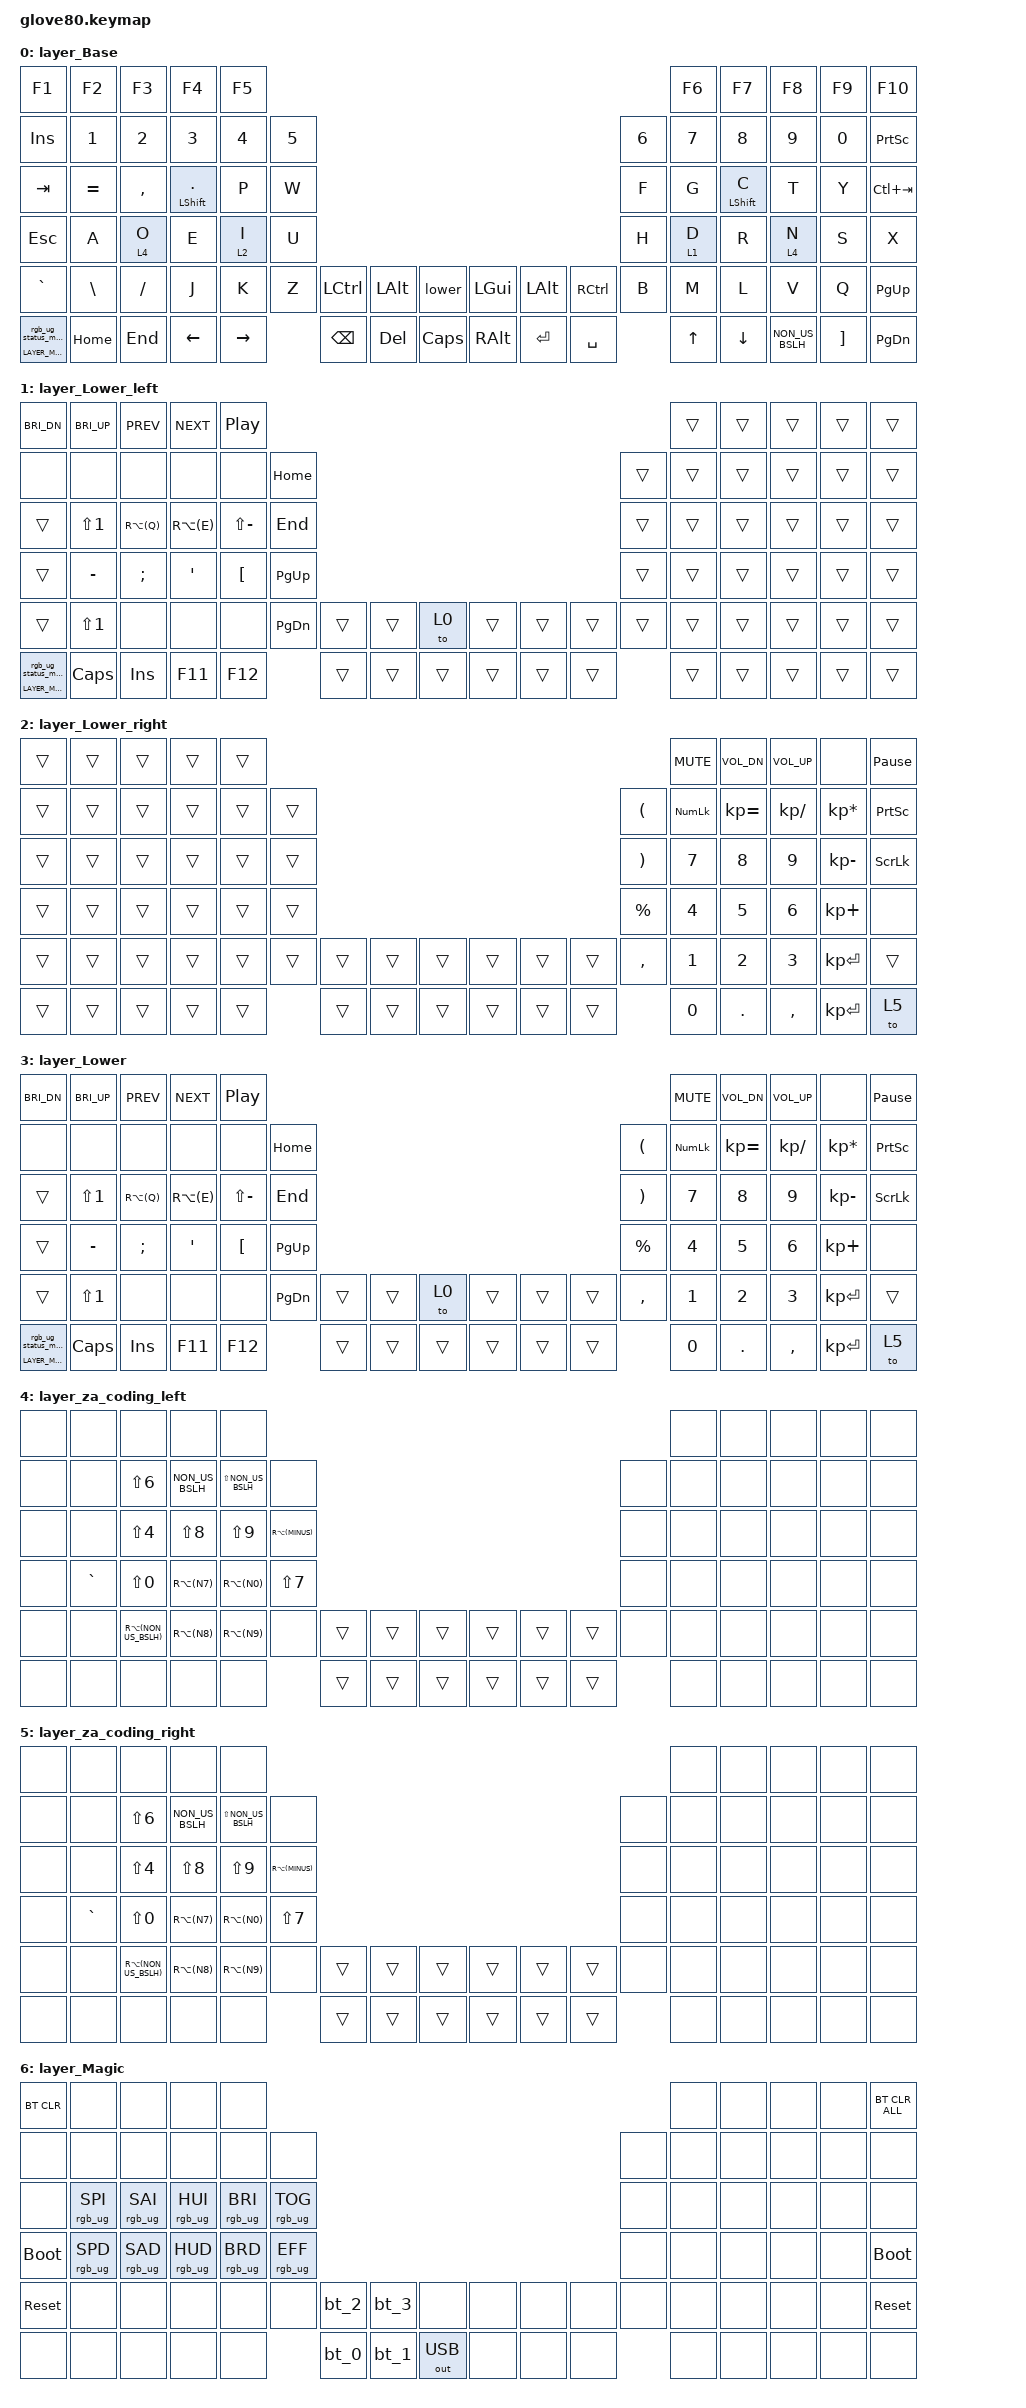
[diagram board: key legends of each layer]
/*
 * Copyright (c) 2020 The ZMK Contributors
 * Copyright (c) 2023 Innaworks Development Limited, trading as MoErgo
 *
 * SPDX-License-Identifier: MIT
 */

#include <behaviors.dtsi>
/* Include all behavior includes needed */
#include <dt-bindings/zmk/outputs.h>
#include <dt-bindings/zmk/keys.h>
#include <dt-bindings/zmk/bt.h>
#include <dt-bindings/zmk/rgb.h>

/* Automatically generated layer name #define */
#define LAYER_Base 0
#define LAYER_Lower_left 1
#define LAYER_Lower_right 2
#define LAYER_Lower 3
#define LAYER_za_coding_left 4
#define LAYER_qwerty 5
#define LAYER_Magic 6

/* To deal with the situation where there is no Lower layer, to keep &lower happy */
#ifndef LAYER_Lower
#define LAYER_Lower 0
#endif

/* Custom Device-tree */



/* Glove80 system behavior & macros */
/ {
    behaviors {
        // For the "layer" key, it'd nice to be able to use it as either a shift or a toggle.
        // Configure it as a tap dance, so the first tap (or hold) is a &mo and the second tap is a &to
        lower: lower {
            compatible = "zmk,behavior-tap-dance";
            label = "LAYER_TAP_DANCE";
            #binding-cells = <0>;
            tapping-term-ms = <200>;
            bindings = <&mo LAYER_Lower>, <&to LAYER_Lower>;
        };
    };
};

/ {
    macros {
        rgb_ug_status_macro: rgb_ug_status_macro {
            label = "RGB_UG_STATUS";
            compatible = "zmk,behavior-macro";
            #binding-cells = <0>;
            bindings
                = <&rgb_ug RGB_STATUS>;
        };
    };
};


/ {
#ifdef BT_DISC_CMD
    behaviors {
        bt_0: bt_0 {
            compatible = "zmk,behavior-tap-dance";
            label = "BT_0";
            #binding-cells = <0>;
            tapping-term-ms = <200>;
            bindings = <&bt_select_0>, <&bt BT_DISC 0>;
        };
        bt_1: bt_1 {
            compatible = "zmk,behavior-tap-dance";
            label = "BT_1";
            #binding-cells = <0>;
            tapping-term-ms = <200>;
            bindings = <&bt_select_1>, <&bt BT_DISC 1>;
        };
        bt_2: bt_2 {
            compatible = "zmk,behavior-tap-dance";
            label = "BT_2";
            #binding-cells = <0>;
            tapping-term-ms = <200>;
            bindings = <&bt_select_2>, <&bt BT_DISC 2>;
        };
        bt_3: bt_3 {
            compatible = "zmk,behavior-tap-dance";
            label = "BT_3";
            #binding-cells = <0>;
            tapping-term-ms = <200>;
            bindings = <&bt_select_3>, <&bt BT_DISC 3>;
        };
    };
    macros {
        bt_select_0: bt_select_0 {
            label = "BT_SELECT_0";
            compatible = "zmk,behavior-macro";
            #binding-cells = <0>;
            bindings
                = <&out OUT_BLE>,
                  <&bt BT_SEL 0>;
        };
        bt_select_1: bt_select_1 {
            label = "BT_SELECT_1";
            compatible = "zmk,behavior-macro";
            #binding-cells = <0>;
            bindings
                = <&out OUT_BLE>,
                  <&bt BT_SEL 1>;
        };
        bt_select_2: bt_select_2 {
            label = "BT_SELECT_2";
            compatible = "zmk,behavior-macro";
            #binding-cells = <0>;
            bindings
                = <&out OUT_BLE>,
                  <&bt BT_SEL 2>;
        };
        bt_select_3: bt_select_3 {
            label = "BT_SELECT_3";
            compatible = "zmk,behavior-macro";
            #binding-cells = <0>;
            bindings
                = <&out OUT_BLE>,
                  <&bt BT_SEL 3>;
        };
    };
#else
    macros {
        bt_0: bt_0 {
            label = "BT_0";
            compatible = "zmk,behavior-macro";
            #binding-cells = <0>;
            bindings
                = <&out OUT_BLE>,
                  <&bt BT_SEL 0>;
        };
        bt_1: bt_1 {
            label = "BT_1";
            compatible = "zmk,behavior-macro";
            #binding-cells = <0>;
            bindings
                = <&out OUT_BLE>,
                  <&bt BT_SEL 1>;
        };
        bt_2: bt_2 {
            label = "BT_2";
            compatible = "zmk,behavior-macro";
            #binding-cells = <0>;
            bindings
                = <&out OUT_BLE>,
                  <&bt BT_SEL 2>;
        };
        bt_3: bt_3 {
            label = "BT_3";
            compatible = "zmk,behavior-macro";
            #binding-cells = <0>;
            bindings
                = <&out OUT_BLE>,
                  <&bt BT_SEL 3>;
        };
    };
#endif
};

/ {
    behaviors {
        magic: magic {
            compatible = "zmk,behavior-hold-tap";
            label = "MAGIC_HOLD_TAP";
            #binding-cells = <2>;
            flavor = "tap-preferred";
            tapping-term-ms = <200>;
            bindings = <&mo>, <&rgb_ug_status_macro>;
        };
    };
};

/* #define for key positions */
#define POS_LH_T1 52
#define POS_LH_T2 53
#define POS_LH_T3 54
#define POS_LH_T4 69
#define POS_LH_T5 70
#define POS_LH_T6 71
#define POS_LH_C1R2 15
#define POS_LH_C1R3 27
#define POS_LH_C1R4 39
#define POS_LH_C1R5 51
#define POS_LH_C2R1 4
#define POS_LH_C2R2 14
#define POS_LH_C2R3 26
#define POS_LH_C2R4 38
#define POS_LH_C2R5 50
#define POS_LH_C2R6 68
#define POS_LH_C3R1 3
#define POS_LH_C3R2 13
#define POS_LH_C3R3 25
#define POS_LH_C3R4 37
#define POS_LH_C3R5 49
#define POS_LH_C3R6 67
#define POS_LH_C4R1 2
#define POS_LH_C4R2 12
#define POS_LH_C4R3 24
#define POS_LH_C4R4 36
#define POS_LH_C4R5 48
#define POS_LH_C4R6 66
#define POS_LH_C5R1 1
#define POS_LH_C5R2 11
#define POS_LH_C5R3 23
#define POS_LH_C5R4 35
#define POS_LH_C5R5 47
#define POS_LH_C5R6 65
#define POS_LH_C6R1 0
#define POS_LH_C6R2 10
#define POS_LH_C6R3 22
#define POS_LH_C6R4 34
#define POS_LH_C6R5 46
#define POS_LH_C6R6 64
#define POS_RH_T1 57
#define POS_RH_T2 56
#define POS_RH_T3 55
#define POS_RH_T4 74
#define POS_RH_T5 73
#define POS_RH_T6 72
#define POS_RH_C1R2 16
#define POS_RH_C1R3 28
#define POS_RH_C1R4 40
#define POS_RH_C1R5 58
#define POS_RH_C2R1 5
#define POS_RH_C2R2 17
#define POS_RH_C2R3 29
#define POS_RH_C2R4 41
#define POS_RH_C2R5 59
#define POS_RH_C2R6 75
#define POS_RH_C3R1 6
#define POS_RH_C3R2 18
#define POS_RH_C3R3 30
#define POS_RH_C3R4 42
#define POS_RH_C3R5 60
#define POS_RH_C3R6 76
#define POS_RH_C4R1 7
#define POS_RH_C4R2 19
#define POS_RH_C4R3 31
#define POS_RH_C4R4 43
#define POS_RH_C4R5 61
#define POS_RH_C4R6 77
#define POS_RH_C5R1 8
#define POS_RH_C5R2 20
#define POS_RH_C5R3 32
#define POS_RH_C5R4 44
#define POS_RH_C5R5 62
#define POS_RH_C5R6 78
#define POS_RH_C6R1 9
#define POS_RH_C6R2 21
#define POS_RH_C6R3 33
#define POS_RH_C6R4 45
#define POS_RH_C6R5 63
#define POS_RH_C6R6 79

/* Custom Defined Behaviors */
/ {

};

/* Automatically generated macro definitions */
/ {
    macros {
    
    };
};

/* Automatically generated combos definitions */
/ {
    combos {
            compatible = "zmk,combos";
    };
};

/* Automatically generated keymap */
/ {
    keymap {
        compatible = "zmk,keymap";


        layer_Base {
            bindings = <
                &kp F1                &kp F2     &kp F3     &kp F4         &kp F5                                                                                          &kp F6   &kp F7       &kp F8           &kp F9    &kp F10
                &kp INS               &kp N1     &kp N2     &kp N3         &kp N4     &kp N5                                                                       &kp N6  &kp N7   &kp N8       &kp N9           &kp N0    &kp PSCRN
                &kp TAB               &kp EQUAL  &kp COMMA  &mt LSHFT DOT  &kp P      &kp W                                                                        &kp F   &kp G    &mt LSHFT C  &kp T            &kp Y     &kp LC(TAB)
                &kp ESC               &kp A      &lt 4 O    &kp E          &lt 2 I    &kp U                                                                        &kp H   &lt 1 D  &kp R        &lt 4 N          &kp S     &kp X
                &kp GRAVE             &kp BSLH   &kp FSLH   &kp J          &kp K      &kp Z      &kp LCTRL  &kp LALT  &lower        &kp LGUI &kp LALT  &kp RCTRL   &kp B   &kp M    &kp L        &kp V            &kp Q     &kp PG_UP
                &magic LAYER_Magic 0  &kp HOME   &kp END    &kp LEFT       &kp RIGHT             &kp BSPC   &kp DEL   &kp CAPS      &kp RALT &kp RET   &kp SPACE           &kp UP   &kp DOWN     &kp NON_US_BSLH  &kp RBKT  &kp PG_DN
            >;
        };

        layer_Lower_left {
            bindings = <
                &kp C_BRI_DN          &kp C_BRI_UP  &kp C_PREV     &kp C_NEXT     &kp C_PP                                                                               &trans  &trans  &trans  &trans  &trans
                &none                 &none         &none          &none          &none          &kp HOME                                                        &trans  &trans  &trans  &trans  &trans  &trans
                &trans                &kp LS(N1)    &kp RA((Q))    &kp RA((E))    &kp LS(MINUS)  &kp END                                                         &trans  &trans  &trans  &trans  &trans  &trans
                &trans                &kp MINUS     &kp SEMI       &kp SQT        &kp LBKT       &kp PG_UP                                                       &trans  &trans  &trans  &trans  &trans  &trans
                &trans                &kp LS(N1)    &none          &none          &none          &kp PG_DN  &trans  &trans   &to 0       &trans  &trans  &trans  &trans  &trans  &trans  &trans  &trans  &trans
                &magic LAYER_Magic 0  &kp CAPS      &kp INS        &kp F11        &kp F12                   &trans  &trans   &trans      &trans  &trans  &trans          &trans  &trans  &trans  &trans  &trans
            >;
        };

        layer_Lower_right {
            bindings = <
                &trans  &trans  &trans  &trans  &trans                                                                                     &kp C_MUTE  &kp C_VOL_DN  &kp C_VOL_UP  &none            &kp PAUSE_BREAK
                &trans  &trans  &trans  &trans  &trans  &trans                                                      &kp LEFT_PARENTHESIS   &kp KP_NUM  &kp KP_EQUAL  &kp KP_SLASH  &kp KP_MULTIPLY  &kp PRINTSCREEN
                &trans  &trans  &trans  &trans  &trans  &trans                                                      &kp RIGHT_PARENTHESIS  &kp N7      &kp N8        &kp N9        &kp KP_MINUS     &kp SCROLLLOCK
                &trans  &trans  &trans  &trans  &trans  &trans                                                      &kp PERCENT            &kp N4      &kp N5        &kp N6        &kp KP_PLUS      &none
                &trans  &trans  &trans  &trans  &trans  &trans  &trans  &trans  &trans      &trans  &trans  &trans  &kp COMMA              &kp N1      &kp N2        &kp N3        &kp KP_ENTER     &trans
                &trans  &trans  &trans  &trans  &trans          &trans  &trans  &trans      &trans  &trans  &trans                         &kp N0      &kp DOT       &kp COMMA     &kp KP_ENTER     &to 5
            >;
        };

        layer_Lower {
            bindings = <
                &kp C_BRI_DN          &kp C_BRI_UP  &kp C_PREV     &kp C_NEXT     &kp C_PP                                                                                              &kp C_MUTE  &kp C_VOL_DN  &kp C_VOL_UP  &none            &kp PAUSE_BREAK
                &none                 &none         &none          &none          &none          &kp HOME                                                        &kp LEFT_PARENTHESIS   &kp KP_NUM  &kp KP_EQUAL  &kp KP_SLASH  &kp KP_MULTIPLY  &kp PRINTSCREEN
                &trans                &kp LS(N1)    &kp RA((Q))    &kp RA((E))    &kp LS(MINUS)  &kp END                                                         &kp RIGHT_PARENTHESIS  &kp N7      &kp N8        &kp N9        &kp KP_MINUS     &kp SCROLLLOCK
                &trans                &kp MINUS     &kp SEMI       &kp SQT        &kp LBKT       &kp PG_UP                                                       &kp PERCENT            &kp N4      &kp N5        &kp N6        &kp KP_PLUS      &none
                &trans                &kp LS(N1)    &none          &none          &none          &kp PG_DN  &trans  &trans   &to 0       &trans  &trans  &trans  &kp COMMA              &kp N1      &kp N2        &kp N3        &kp KP_ENTER     &trans
                &magic LAYER_Magic 0  &kp CAPS      &kp INS        &kp F11        &kp F12                   &trans  &trans   &trans      &trans  &trans  &trans                         &kp N0      &kp DOT       &kp COMMA     &kp KP_ENTER     &to 5
            >;
        };

        layer_za_coding_left {
            bindings = <
                &none  &none      &none                    &none            &none                                                                                            &none  &none  &none  &none  &none
                &none  &none      &kp LS(N6)               &kp NON_US_BSLH  &kp LS(NON_US_BSLH)  &none                                                                &none  &none  &none  &none  &none  &none
                &none  &none      &kp LS(N4)               &kp LS(N8)       &kp LS(N9)           &kp RA((MINUS))                                                      &none  &none  &none  &none  &none  &none
                &none  &kp GRAVE  &kp LS(N0)               &kp RA((N7))     &kp RA((N0))         &kp LS(N7)                                                           &none  &none  &none  &none  &none  &none
                &none  &none      &kp RA((NON_US_BSLH))    &kp RA((N8))     &kp RA((N9))         &none            &trans  &trans  &trans      &trans  &trans  &trans  &none  &none  &none  &none  &none  &none
                &none  &none      &none                    &none            &none                                 &trans  &trans  &trans      &trans  &trans  &trans         &none  &none  &none  &none  &none
            >;
        };

        layer_za_coding_right {
            bindings = <
                &none  &none      &none                    &none            &none                                                                                              &none  &none  &none  &none  &none
                &none  &none      &kp LS(N6)               &kp NON_US_BSLH  &kp LS(NON_US_BSLH)  &none                                                                  &none  &none  &none  &none  &none  &none
                &none  &none      &kp LS(N4)               &kp LS(N8)       &kp LS(N9)           &kp RA((MINUS))                                                        &none  &none  &none  &none  &none  &none
                &none  &kp GRAVE  &kp LS(N0)               &kp RA((N7))     &kp RA((N0))         &kp LS(N7)                                                             &none  &none  &none  &none  &none  &none
                &none  &none      &kp RA((NON_US_BSLH))    &kp RA((N8))     &kp RA((N9))         &none              &trans  &trans  &trans      &trans  &trans  &trans  &none  &none  &none  &none  &none  &none
                &none  &none      &none                    &none            &none                                   &trans  &trans  &trans      &trans  &trans  &trans         &none  &none  &none  &none  &none
            >;
        };

        layer_Magic {
            bindings = <
                &bt BT_CLR   &none            &none            &none            &none                                                                                          &none &none &none &none &bt BT_CLR_ALL
                &none        &none            &none            &none            &none            &none                                                                   &none &none &none &none &none &none
                &none        &rgb_ug RGB_SPI  &rgb_ug RGB_SAI  &rgb_ug RGB_HUI  &rgb_ug RGB_BRI  &rgb_ug RGB_TOG                                                         &none &none &none &none &none &none
                &bootloader  &rgb_ug RGB_SPD  &rgb_ug RGB_SAD  &rgb_ug RGB_HUD  &rgb_ug RGB_BRD  &rgb_ug RGB_EFF                                                         &none &none &none &none &none &bootloader
                &sys_reset   &none            &none            &none            &none            &none            &bt_2   &bt_3  &none            &none   &none   &none  &none &none &none &none &none &sys_reset
                &none        &none            &none            &none            &none                             &bt_0   &bt_1  &out OUT_USB     &none   &none   &none        &none &none &none &none &none
            >;
        };

    };
};




